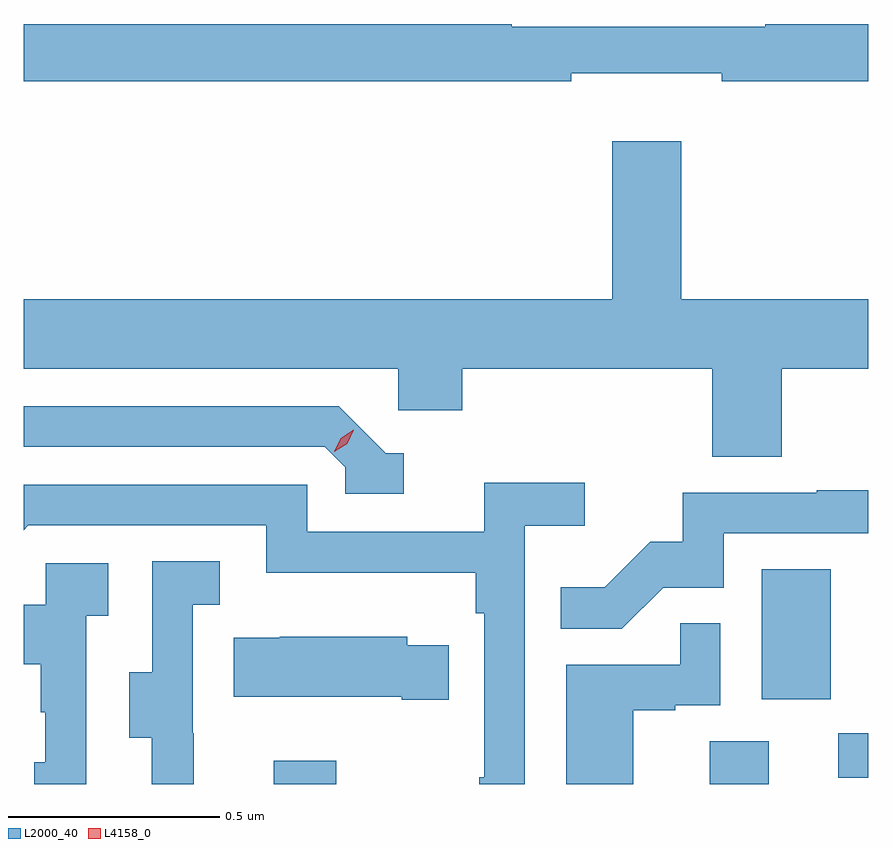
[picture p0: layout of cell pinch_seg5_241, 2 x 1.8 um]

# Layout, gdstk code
import gdstk
lib = gdstk.Library(unit=1e-6, precision=1e-09)
def R(c, l, rs):  # rectangles x0, y0, x1, y1
    for r in rs: c.add(gdstk.rectangle(r[:2], r[2:], *l))
def P(c, l, *ps):  # polygons
    for p in ps: c.add(gdstk.Polygon(p, *l))
L2000_40 = (2000, 40)
L4158_0 = (4158, 0)

pinch_seg5_241 = lib.new_cell('pinch_seg5_241')
R(pinch_seg5_241, L2000_40, [(955.415,905.061,955.563,905.116), (956.447,905.061,956.587,905.162), (956.751,905.076,956.823,905.181), (956.57,905.262,956.734,905.569)])
P(pinch_seg5_241, L2000_40, [(956.12,906.743),(956.476,906.743),(956.476,906.724),(956.823,906.724),(956.823,906.86),(956.579,906.86),(956.579,906.853),(955.979,906.853),(955.979,906.86),(954.823,906.86),(954.823,906.724),(956.12,906.724)],
  [(956.618,906.044),(956.823,906.044),(956.823,906.208),(956.38,906.208),(956.38,906.583),(956.216,906.583),(956.216,906.208),(954.823,906.208),(954.823,906.044),(955.71,906.044),(955.71,905.946),(955.862,905.946),(955.862,906.044),(956.453,906.044),(956.453,905.836),(956.618,905.836)],
  [(955.723,905.844),(955.68,905.844),(955.569,905.955),(954.823,905.955),(954.823,905.859),(955.536,905.859),(955.584,905.811),(955.584,905.748),(955.723,905.748)],
  [(956.01,905.672),(956.152,905.672),(956.152,905.774),(955.913,905.774),(955.913,905.658),(955.494,905.658),(955.494,905.769),(954.823,905.769),(954.823,905.662),(954.834,905.673),(955.398,905.673),(955.398,905.561),(955.894,905.561),(955.894,905.465),(955.914,905.465),(955.914,905.077),(955.902,905.077),(955.902,905.061),(956.01,905.061)],
  [(956.337,905.526),(956.481,905.526),(956.481,905.655),(956.823,905.655),(956.823,905.756),(956.701,905.756),(956.701,905.751),(956.383,905.751),(956.383,905.634),(956.306,905.634),(956.199,905.527),(956.095,905.527),(956.095,905.428),(956.239,905.428)],
  [(955.226,905.181),(955.224,905.181),(955.224,905.485),(955.288,905.485),(955.288,905.588),(955.128,905.588),(955.128,905.325),(955.073,905.325),(955.073,905.17),(955.127,905.17),(955.127,905.061),(955.226,905.061)],
  [(954.972,905.459),(955.024,905.459),(955.024,905.583),(954.876,905.583),(954.876,905.485),(954.823,905.485),(954.823,905.345),(954.864,905.345),(954.864,905.231),(954.874,905.231),(954.874,905.112),(954.848,905.112),(954.848,905.061),(954.972,905.061)],
  [(956.266,905.235),(956.366,905.235),(956.366,905.247),(956.472,905.247),(956.472,905.441),(956.377,905.441),(956.377,905.343),(956.108,905.343),(956.108,905.061),(956.266,905.061)],
  [(955.829,905.389),(955.731,905.389),(955.731,905.41),(955.429,905.41),(955.429,905.407),(955.321,905.407),(955.321,905.267),(955.718,905.267),(955.718,905.26),(955.829,905.26)])
P(pinch_seg5_241, L4158_0, [(955.558,905.847),(955.558,905.847),(955.574,905.88),(955.605,905.899),(955.605,905.899),(955.605,905.899),(955.589,905.866),(955.558,905.847)])

lib.write_gds('pinch_seg5_241.gds')
